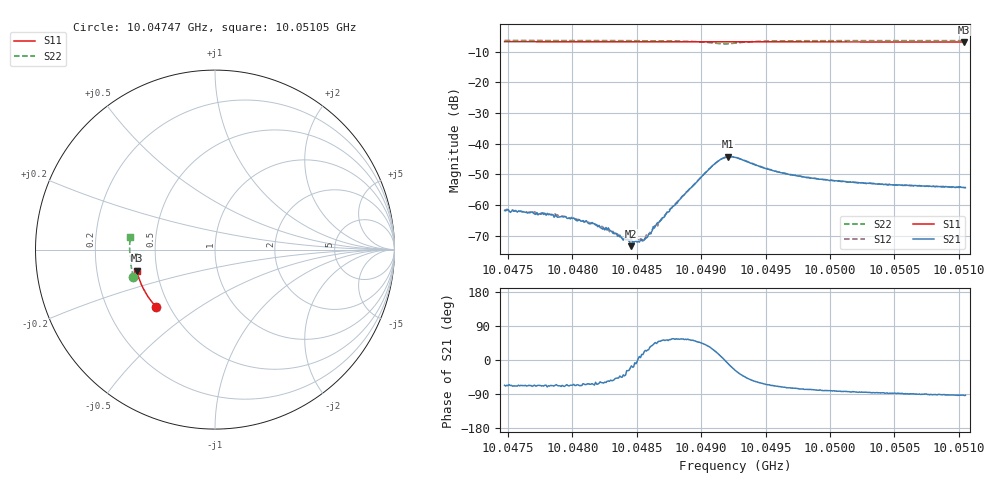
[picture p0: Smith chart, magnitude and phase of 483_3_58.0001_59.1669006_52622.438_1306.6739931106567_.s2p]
#  HZ  S  RI  R  50.00
! Rohde & Schwarz Vector Network Analyzer
! Rohde-Schwarz,ZNB20-2Port,1311601062101988,3.16
! Created: UTC 3/21/2024, 1:11:58 AM
! freq[Hz]  re:S11  im:S11  re:S21  im:S21  re:S12  im:S12  re:S22  im:S22
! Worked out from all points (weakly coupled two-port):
!   401 points, 10.04747 GHz to 10.05105 GHz, reference 50 ohm
!   highest |S21| = -44.31 dB at 10.04921 GHz (marker M1); lowest = -73.5 dB at 10.04846 GHz (marker M2)
!   lowest |S11| = -6.9 dB at 10.05104 GHz (marker M3), VSWR 2.65, Z = 19.1 - j5.67 ohm
!   |S11| at or under -10 dB: nowhere
!   |S22| runs from -7.5 to -6.4 dB; largest |S21 - S12| = 0.00041
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1.0047474e10  -0.3267 -0.3217  0.000317 -0.000743  0.000391 -0.000745  -0.4544 -0.1518
1.0047769e10  -0.3394 -0.307  0.000279 -0.000685  0.000298 -0.000658  -0.4597 -0.1322
1.0047867e10  -0.3437 -0.302  0.000273 -0.000621  0.00029 -0.00065  -0.4614 -0.1254
1.0048073e10  -0.3521 -0.2914  0.000208 -0.000499  0.000271 -0.000465  -0.4643 -0.1112
1.0048171e10  -0.3561 -0.2864  0.000197 -0.000448  0.000242 -0.000412  -0.4657 -0.1041
1.0048225e10  -0.3582 -0.2834  0.00021 -0.00036  0.000238 -0.00037  -0.4662 -0.1003
1.0048279e10  -0.3603 -0.2806  0.000239 -0.000346  0.000236 -0.000317  -0.4668 -0.0963
1.0048458e10  -0.3671 -0.271  0.000204 -5.67e-05  0.000273 -7.83e-05  -0.4683 -0.0824
1.0048484e10  -0.3682 -0.2697  0.00025 -3.32e-05  0.000243 9.35e-06  -0.4685 -0.0805
1.0048565e10  -0.3711 -0.2652  0.000253 0.000119  0.000258 0.00011  -0.4687 -0.0737
1.0048672e10  -0.375 -0.2593  0.000336 0.000398  0.000345 0.000422  -0.4683 -0.0642
1.0048797e10  -0.3794 -0.2525  0.000581 0.000814  0.000529 0.000888  -0.4666 -0.052
1.0049084e10  -0.3888 -0.2359  0.0037 0.00211  0.00356 0.00231  -0.4365 -0.0257
1.0049155e10  -0.3909 -0.2319  0.00549 0.000909  0.00547 0.00121  -0.421 -0.0354
1.0049209e10  -0.3925 -0.2291  0.00601 -0.00101  0.00607 -0.000618  -0.4192 -0.0509
1.0049262e10  -0.3942 -0.2262  0.00532 -0.00269  0.0055 -0.00237  -0.428 -0.0626
1.0049576e10  -0.4039 -0.2081  0.0013 -0.0033  0.0015 -0.00323  -0.4686 -0.0425
1.0049862e10  -0.4118 -0.1909  0.000554 -0.00266  0.000709 -0.00264  -0.4747 -0.0165
1.005013e10  -0.4185 -0.1747  0.000285 -0.00233  0.000415 -0.00235  -0.4759 0.00415
1.0050461e10  -0.4259 -0.1543  7.96e-05 -0.00216  0.000227 -0.00214  -0.4753 0.0282
1.0051042e10  -0.4365 -0.1177  -0.000122 -0.00189  3.79e-05 -0.00192  -0.4713 0.0679
1.0051051e10  -0.4367 -0.1172  -0.00011 -0.00191  2.58e-06 -0.00192  -0.4713 0.0686
